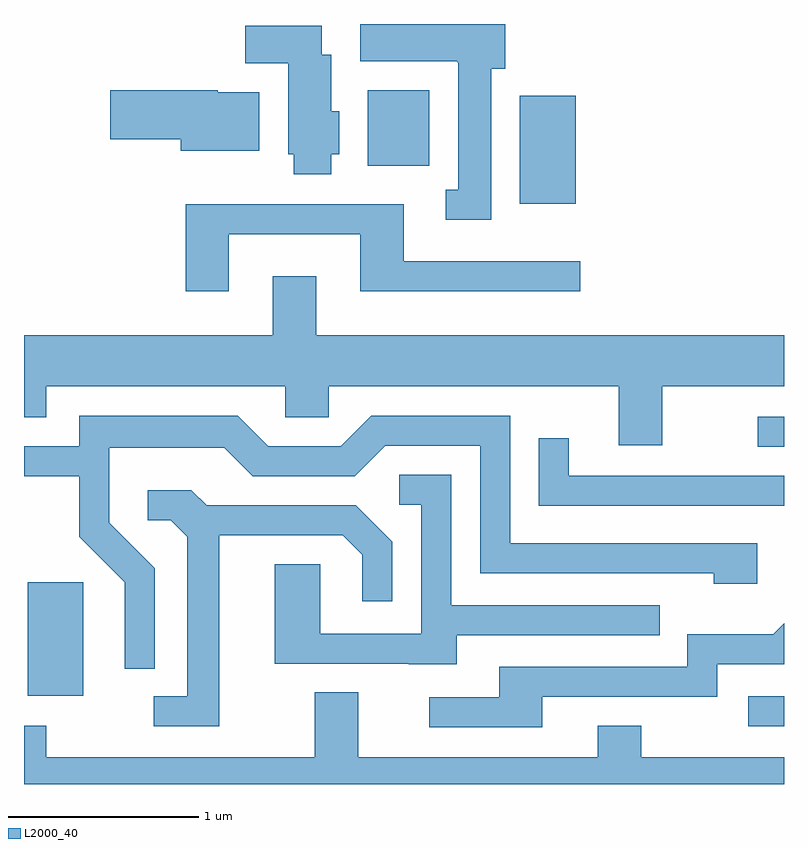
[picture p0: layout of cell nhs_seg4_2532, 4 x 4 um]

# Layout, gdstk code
import gdstk
lib = gdstk.Library(unit=1e-6, precision=1e-09)
def R(c, l, rs):  # rectangles x0, y0, x1, y1
    for r in rs: c.add(gdstk.rectangle(r[:2], r[2:], *l))
def P(c, l, *ps):  # polygons
    for p in ps: c.add(gdstk.Polygon(p, *l))
L2000_40 = (2000, 40)

nhs_seg4_2532 = lib.new_cell('nhs_seg4_2532')
R(nhs_seg4_2532, L2000_40, [(263.423,1286.286,263.611,1286.444), (259.631,1286.446,259.924,1287.044), (263.473,1287.756,263.611,1287.914), (262.221,1289.036,262.514,1289.604), (261.421,1289.236,261.744,1289.634)])
P(nhs_seg4_2532, L2000_40, [(262.069,1289.746),(262.144,1289.746),(262.144,1289.982),(261.381,1289.982),(261.381,1289.786),(261.89,1289.786),(261.89,1289.78),(261.896,1289.78),(261.896,1289.109),(261.832,1289.109),(261.832,1288.951),(262.069,1288.951)],
  [(261.229,1289.296),(261.269,1289.296),(261.269,1289.524),(261.229,1289.524),(261.229,1289.819),(261.179,1289.819),(261.179,1289.974),(260.776,1289.974),(260.776,1289.776),(261.001,1289.776),(261.001,1289.296),(261.031,1289.296),(261.031,1289.191),(261.229,1289.191)],
  [(260.849,1289.624),(260.63,1289.624),(260.63,1289.634),(260.066,1289.634),(260.066,1289.376),(260.436,1289.376),(260.436,1289.316),(260.849,1289.316)],
  [(260.689,1288.876),(261.381,1288.876),(261.381,1288.576),(262.538,1288.576),(262.538,1288.734),(261.609,1288.734),(261.609,1289.034),(260.461,1289.034),(260.461,1288.576),(260.689,1288.576)],
  [(262.969,1288.076),(263.611,1288.076),(263.611,1288.344),(261.149,1288.344),(261.149,1288.654),(260.921,1288.654),(260.921,1288.344),(259.611,1288.344),(259.611,1287.911),(259.729,1287.911),(259.729,1288.076),(260.986,1288.076),(260.986,1287.911),(261.214,1287.911),(261.214,1288.076),(262.741,1288.076),(262.741,1287.766),(262.969,1287.766)],
  [(260.299,1287.117),(260.059,1287.357),(260.059,1287.751),(260.664,1287.751),(260.814,1287.601),(261.352,1287.601),(261.512,1287.761),(262.011,1287.761),(262.011,1287.091),(263.241,1287.091),(263.241,1287.036),(263.469,1287.036),(263.469,1287.249),(262.169,1287.249),(262.169,1287.919),(261.439,1287.919),(261.279,1287.759),(260.897,1287.759),(260.736,1287.919),(259.901,1287.919),(259.901,1287.759),(259.611,1287.759),(259.611,1287.601),(259.901,1287.601),(259.901,1287.284),(260.141,1287.044),(260.141,1286.588),(260.299,1286.588)],
  [(263.611,1287.604),(262.479,1287.604),(262.479,1287.803),(262.321,1287.803),(262.321,1287.446),(263.611,1287.446)],
  [(261.889,1286.766),(262.958,1286.766),(262.958,1286.924),(261.859,1286.924),(261.859,1287.609),(261.587,1287.609),(261.587,1287.451),(261.701,1287.451),(261.701,1286.774),(261.169,1286.774),(261.169,1287.139),(260.931,1287.139),(260.931,1286.616),(261.635,1286.616),(261.635,1286.611),(261.889,1286.611)],
  [(260.639,1287.291),(261.289,1287.291),(261.391,1287.189),(261.391,1286.943),(261.549,1286.943),(261.549,1287.257),(261.356,1287.449),(260.572,1287.449),(260.492,1287.529),(260.263,1287.529),(260.263,1287.371),(260.384,1287.371),(260.471,1287.284),(260.471,1286.444),(260.293,1286.444),(260.293,1286.286),(260.639,1286.286)],
  [(262.339,1286.441),(263.259,1286.441),(263.259,1286.611),(263.611,1286.611),(263.611,1286.827),(263.554,1286.769),(263.101,1286.769),(263.101,1286.599),(262.111,1286.599),(262.111,1286.439),(261.743,1286.439),(261.743,1286.281),(262.339,1286.281)],
  [(263.611,1286.124),(262.859,1286.124),(262.859,1286.289),(262.631,1286.289),(262.631,1286.124),(261.369,1286.124),(261.369,1286.464),(261.141,1286.464),(261.141,1286.124),(259.729,1286.124),(259.729,1286.289),(259.611,1286.289),(259.611,1285.982),(263.611,1285.982)])

lib.write_gds('nhs_seg4_2532.gds')
